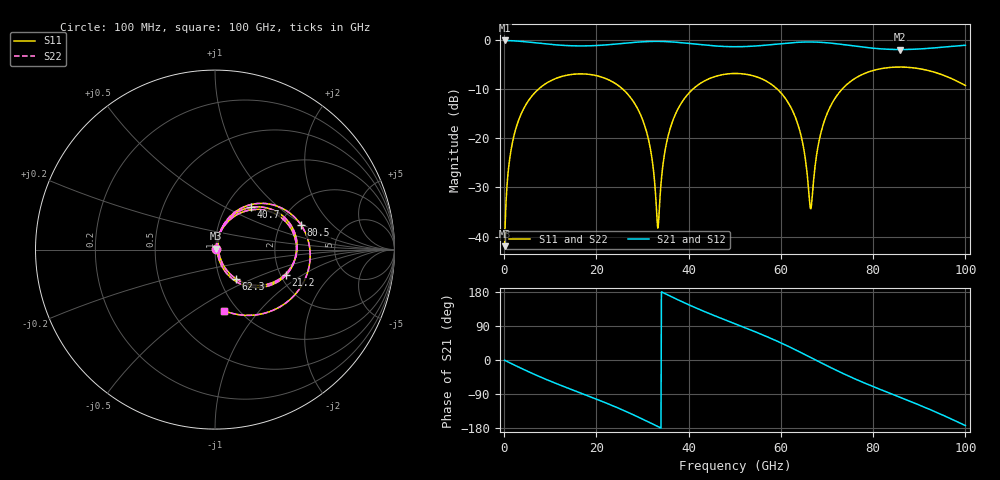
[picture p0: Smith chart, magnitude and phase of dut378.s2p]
! Touchstone file exported from HFSS 2026.1.0
!  File:  C:/ffzhzh/LocalFiles/Ansys_Project_Files/temp_train_TSV_RDL_378_1783715125_45164.aedt
!  Generated:  04:32:56 AM Jul 11, 2026
!  Design:  TSV_RDL
!  Project:  temp_train_TSV_RDL_378_1783715125_45164
! Variables:
!  h_bsmrdl = 3.87um
!  h_ox = 20um
!  h_rdl = 5um
!  h_sub = 97.97um
!  h_tmrdl = 4.49um
!  h_tsv = 97.97um
!  h_via = 3um
!  l_bsmrdl = 193.09um
!  l_sub = 1526.38um
!  l_tmrdl = 103.71um
!  m_sub = 200um
!  pitch = 53.56um
!  r_tsv = 8.98um
!  s_tmrdl = 10um
!  w_bsmrdl = 19.87um
!  w_sub = 500um
!  w_tmrdl = 24.22um
!  x_tsv_center1 = 115.82um
!  x_tsv_center2 = 328.78um
!  x_tsv_center3 = 456.71um
!  x_tsv_center4 = 669.67um
!  x_tsv_center5 = 797.6um
!  x_tsv_center6 = 1010.56um
# GHz S MA R 50.000000
! Terminal data exported
! Port[1] = TM_RDL1_1_T1
! Port[2] = TM_RDL5_1_T1
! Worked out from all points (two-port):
!   1000 points, 100 MHz to 100 GHz, reference 50 ohm
!   highest |S21| = -0.05 dB at 100 MHz (marker M1); lowest = -1.9 dB at 85.9 GHz (marker M2)
!   |S21| within 3 dB of the highest: start of sweep to end of sweep
!   lowest |S11| = -42.0 dB at 100 MHz (marker M3), VSWR 1.02, Z = 50.6 + j0.547 ohm
!   |S11| at or under -10 dB: start of sweep to 7.408 GHz; 25.75 GHz to 40.88 GHz (15.13 GHz wide, 45.4 % of centre); 59.25 GHz to 73.25 GHz (14 GHz wide, 21.1 % of centre)
!   |S22| runs from -42.0 to -5.5 dB; largest |S21 - S12| = 9.1e-14
!   S11 on the Smith chart (normalised r, x): 100 MHz: 1.01, +0.01; 21.2 GHz: 2.13, -0.74; 40.7 GHz: 1.31, +0.68; 62.3 GHz: 1.19, -0.40; 80.5 GHz: 2.59, +0.95; 100 GHz: 0.87, -0.67
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0.1  0.007971 42.7  0.9942 -0.6  0.9942 -0.6  0.007971 42.7
! Gamma 0 0 0 0
! Port Impedance 50 0 50 0
1.5  0.07633 74.7  0.9888 -9.1  0.9888 -9.1  0.07633 74.7
4.1  0.1951 62.3  0.9691 -24.3  0.9691 -24.3  0.1951 62.3
16.8  0.454 0.5  0.8743 -88.2  0.8743 -88.2  0.454 0.5
21.2  0.4202 -19.8  0.8897 -109.0  0.8897 -109.0  0.4202 -19.8
29.7  0.1686 -61.7  0.9618 -154.2  0.9618 -154.2  0.1686 -61.7
31.7  0.07854 -68.4  0.9711 -165.9  0.9711 -165.9  0.0786 -68.6
33.4  0.01254 17.9  0.9727 -176.0  0.9727 -176.0  0.01236 17.7
35.8  0.1171 72.9  0.9643 169.8  0.9643 169.8  0.117 72.9
40.7  0.3105 49.4  0.9201 142.1  0.9201 142.1  0.3104 49.4
50.1  0.4582 4.6  0.8585 95.4  0.8585 95.4  0.4581 4.6
56.8  0.3838 -26.9  0.8909 62.5  0.8909 62.5  0.3837 -27.0
62.3  0.2009 -54.1  0.9428 31.9  0.9428 31.9  0.2009 -54.3
64.4  0.105 -61.5  0.9558 19.3  0.9558 19.3  0.1049 -61.8
66.7  0.02258 36.6  0.9592 5.1  0.9592 5.1  0.02202 37.4
68.3  0.09537 72.9  0.954 -4.8  0.954 -4.8  0.09519 73.3
70.7  0.2101 64.9  0.9353 -19.4  0.9353 -19.4  0.21 65.1
80.5  0.4986 16.0  0.8245 -72.6  0.8245 -72.6  0.4985 16.1
83.4  0.5262 2.4  0.8081 -86.7  0.8081 -86.7  0.5261 2.4
85.9  0.5328 -9.2  0.8036 -98.7  0.8036 -98.7  0.5327 -9.2
93  0.4764 -43.5  0.8329 -134.2  0.8329 -134.2  0.4763 -43.4
100  0.3456 -81.2  0.8887 -173.1  0.8887 -173.1  0.3454 -81.2
